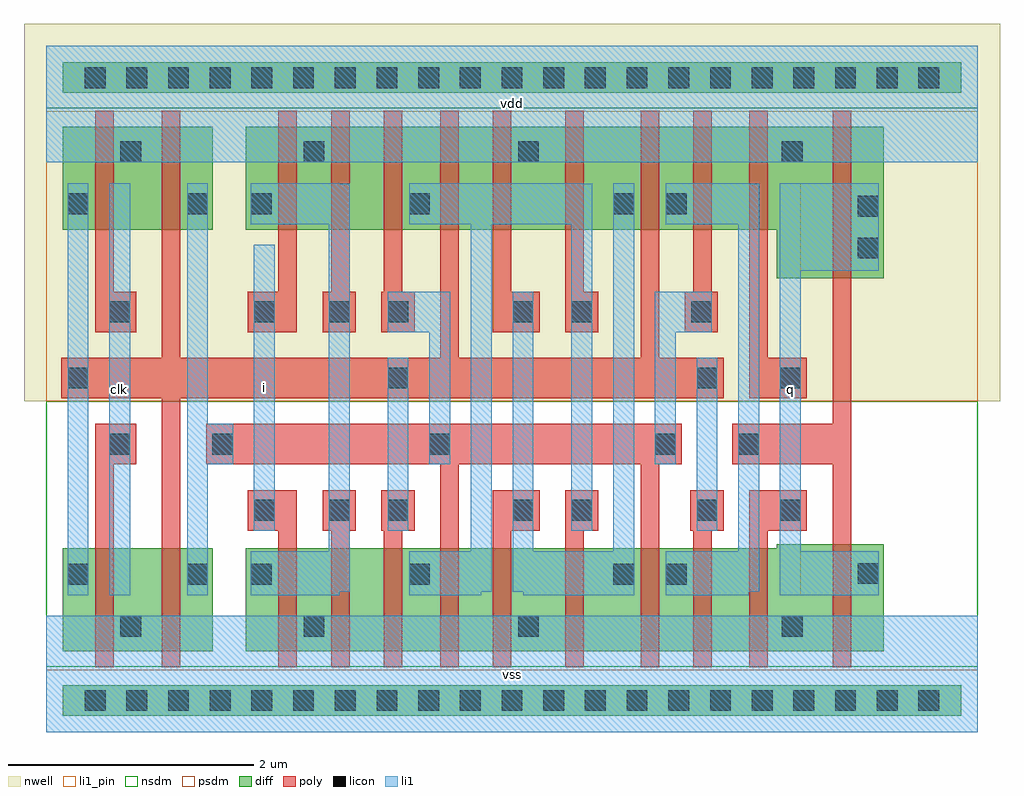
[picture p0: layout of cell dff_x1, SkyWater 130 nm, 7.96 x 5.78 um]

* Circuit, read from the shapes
.subckt dff_x1 clk i q vdd vss
XM1 vss clk n1 VSUBS sky130_fd_pr__nfet_01v8 w=0.84 l=0.15
XM2 n2 n1 vss VSUBS sky130_fd_pr__nfet_01v8 w=0.84 l=0.15
XM3 vss i n3 VSUBS sky130_fd_pr__nfet_01v8 w=0.84 l=0.15
XM4 n4 n3 vss VSUBS sky130_fd_pr__nfet_01v8 w=0.84 l=0.15
XM5 n5 n1 n4 VSUBS sky130_fd_pr__nfet_01v8 w=0.84 l=0.15
XM6 n6 n2 n5 VSUBS sky130_fd_pr__nfet_01v8 w=0.84 l=0.15
XM7 vss n7 n6 VSUBS sky130_fd_pr__nfet_01v8 w=0.84 l=0.15
XM8 n7 n5 vss VSUBS sky130_fd_pr__nfet_01v8 w=0.84 l=0.15
XM9 n8 n2 n7 VSUBS sky130_fd_pr__nfet_01v8 w=0.84 l=0.15
XM10 n9 n1 n8 VSUBS sky130_fd_pr__nfet_01v8 w=0.84 l=0.15
XM11 vss q n9 VSUBS sky130_fd_pr__nfet_01v8 w=0.84 l=0.15
XM12 q n8 vss VSUBS sky130_fd_pr__nfet_01v8 w=0.875 l=0.15
XM13 vdd clk n1 n10 sky130_fd_pr__pfet_01v8 w=0.84 l=0.15
XM14 n2 n1 vdd n10 sky130_fd_pr__pfet_01v8 w=0.84 l=0.15
XM15 vdd i n3 n10 sky130_fd_pr__pfet_01v8 w=0.84 l=0.15
XM16 n11 n3 vdd n10 sky130_fd_pr__pfet_01v8 w=0.84 l=0.15
XM17 n5 n2 n11 n10 sky130_fd_pr__pfet_01v8 w=0.84 l=0.15
XM18 n12 n1 n5 n10 sky130_fd_pr__pfet_01v8 w=0.84 l=0.15
XM19 vdd n7 n12 n10 sky130_fd_pr__pfet_01v8 w=0.84 l=0.15
XM20 n7 n5 vdd n10 sky130_fd_pr__pfet_01v8 w=0.84 l=0.15
XM21 n8 n1 n7 n10 sky130_fd_pr__pfet_01v8 w=0.84 l=0.15
XM22 n13 n2 n8 n10 sky130_fd_pr__pfet_01v8 w=0.84 l=0.15
XM23 vdd q n13 n10 sky130_fd_pr__pfet_01v8 w=0.84 l=0.15
XM24 q n8 vdd n10 sky130_fd_pr__pfet_01v8 w=1.235 l=0.15
.ends

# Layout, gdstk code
import gdstk
lib = gdstk.Library(unit=1e-6, precision=1e-09)
def R(c, l, rs):  # rectangles x0, y0, x1, y1
    for r in rs: c.add(gdstk.rectangle(r[:2], r[2:], *l))
def A(c, l, x, y, w, h, nx, ny, dx, dy):  # array of equal rectangles
    R(c, l, [(x+i*dx, y+j*dy, x+i*dx+w, y+j*dy+h) for i in range(nx) for j in range(ny)])
def P(c, l, *ps):  # polygons
    for p in ps: c.add(gdstk.Polygon(p, *l))
nwell = (64, 20)
diff = (65, 20)
poly = (66, 20)
licon = (66, 44)
li1_pin = (67, 16)
li1 = (67, 20)
nsdm = (93, 44)
psdm = (94, 20)

dff_x1 = lib.new_cell('dff_x1')
R(dff_x1, nwell, [(-0.18,2.7,7.78,5.78)])
R(dff_x1, diff, [(0.135,0.135,7.465,0.385), (0.135,0.66,1.36,1.5), (0.135,4.1,1.36,4.94), (0.135,5.215,7.465,5.465)])
P(dff_x1, diff, [(5.96,3.705),(5.96,4.1),(1.63,4.1),(1.63,4.94),(6.83,4.94),(6.83,3.705)],
  [(1.63,0.66),(1.63,1.5),(5.96,1.5),(5.96,1.535),(6.83,1.535),(6.83,0.66)])
P(dff_x1, poly, [(5.28,0.53),(5.28,1.645),(5.255,1.645),(5.255,1.975),(5.525,1.975),(5.525,1.645),(5.43,1.645),(5.43,0.53)],
  [(2.755,0.53),(2.755,1.645),(2.735,1.645),(2.735,1.975),(3.005,1.975),(3.005,1.645),(2.905,1.645),(2.905,0.53)],
  [(0.945,0.53),(0.945,2.725),(0.125,2.725),(0.125,3.055),(0.945,3.055),(0.945,5.07),(1.095,5.07),(1.095,3.055),(3.215,3.055),(3.215,5.07),(3.365,5.07),(3.365,3.055),(4.85,3.055),(4.85,5.07),(5,5.07),(5,3.055),(5.525,3.055),(5.525,2.725),(1.095,2.725),(1.095,0.53)],
  [(0.4,3.265),(0.4,5.07),(0.55,5.07),(0.55,3.595),(0.735,3.595),(0.735,3.265)],
  [(0.4,0.53),(0.4,2.515),(0.735,2.515),(0.735,2.185),(0.55,2.185),(0.55,0.53)],
  [(3.215,0.53),(3.215,2.185),(1.305,2.185),(1.305,2.515),(5.185,2.515),(5.185,2.185),(5,2.185),(5,0.53),(4.85,0.53),(4.85,2.185),(3.365,2.185),(3.365,0.53)],
  [(5.21,3.265),(5.21,3.595),(5.28,3.595),(5.28,5.07),(5.43,5.07),(5.43,3.595),(5.48,3.595),(5.48,3.265)],
  [(2.735,3.265),(2.735,3.595),(2.755,3.595),(2.755,5.07),(2.905,5.07),(2.905,3.595),(3.005,3.595),(3.005,3.265)],
  [(2.325,0.53),(2.325,1.645),(2.255,1.645),(2.255,1.975),(2.525,1.975),(2.525,1.645),(2.475,1.645),(2.475,0.53)],
  [(2.255,3.265),(2.255,3.595),(2.325,3.595),(2.325,5.07),(2.475,5.07),(2.475,3.595),(2.525,3.595),(2.525,3.265)],
  [(1.895,0.53),(1.895,1.645),(1.645,1.645),(1.645,1.975),(2.045,1.975),(2.045,0.53)],
  [(1.645,3.265),(1.645,3.595),(1.895,3.595),(1.895,5.07),(2.045,5.07),(2.045,3.265)],
  [(4.235,3.265),(4.235,5.07),(4.385,5.07),(4.385,3.595),(4.505,3.595),(4.505,3.265)],
  [(4.235,0.53),(4.235,1.975),(4.505,1.975),(4.505,1.645),(4.385,1.645),(4.385,0.53)],
  [(3.645,3.265),(3.645,5.07),(3.795,5.07),(3.795,3.595),(4.025,3.595),(4.025,3.265)],
  [(3.645,0.53),(3.645,1.975),(4.025,1.975),(4.025,1.645),(3.795,1.645),(3.795,0.53)],
  [(6.415,0.53),(6.415,2.185),(5.595,2.185),(5.595,2.515),(6.415,2.515),(6.415,5.07),(6.565,5.07),(6.565,0.53)],
  [(5.735,2.725),(5.735,5.07),(5.885,5.07),(5.885,3.055),(6.205,3.055),(6.205,2.725)],
  [(5.735,0.53),(5.735,1.975),(6.205,1.975),(6.205,1.645),(5.885,1.645),(5.885,0.53)])
A(dff_x1, licon, 0.315, 0.175, 0.17, 0.17, 21, 2, 0.34, 5.08)
R(dff_x1, licon, [(0.605,0.78,0.775,0.95), (2.1,0.78,2.27,0.95), (3.85,0.78,4.02,0.95), (6,0.78,6.17,0.95), (0.175,1.205,0.345,1.375), (1.15,1.205,1.32,1.375), (1.67,1.205,1.84,1.375), (2.96,1.205,3.13,1.375), (4.625,1.205,4.795,1.375), (5.055,1.205,5.225,1.375), (6.62,1.21,6.79,1.38), (1.695,1.725,1.865,1.895), (2.305,1.725,2.475,1.895), (2.785,1.725,2.955,1.895), (3.805,1.725,3.975,1.895), (4.285,1.725,4.455,1.895), (5.305,1.725,5.475,1.895), (5.985,1.725,6.155,1.895), (0.515,2.265,0.685,2.435), (1.355,2.265,1.525,2.435), (3.125,2.265,3.295,2.435), (4.965,2.265,5.135,2.435), (5.645,2.265,5.815,2.435), (0.175,2.805,0.345,2.975), (2.785,2.805,2.955,2.975), (5.305,2.805,5.475,2.975), (5.985,2.805,6.155,2.975), (0.515,3.345,0.685,3.515), (1.695,3.345,1.865,3.515), (2.305,3.345,2.475,3.515), (2.785,3.345,2.955,3.515), (3.805,3.345,3.975,3.515), (4.285,3.345,4.455,3.515), (5.26,3.345,5.43,3.515), (6.62,3.865,6.79,4.035), (6.62,4.205,6.79,4.375), (0.175,4.225,0.345,4.395), (1.15,4.225,1.32,4.395), (1.67,4.225,1.84,4.395), (2.96,4.225,3.13,4.395), (4.625,4.225,4.795,4.395), (5.055,4.225,5.225,4.395), (0.605,4.65,0.775,4.82), (2.1,4.65,2.27,4.82), (3.85,4.65,4.02,4.82), (6,4.65,6.17,4.82)])
R(dff_x1, li1_pin, [(0,0,7.6,0.95), (0.515,1.12,0.685,4.48), (5.985,1.12,6.155,4.48), (1.695,1.645,1.865,3.975), (0,4.65,7.6,5.6)])
R(dff_x1, li1, [(0,0,7.6,0.95), (0.175,1.12,0.345,4.48), (0.515,1.12,0.685,4.48), (1.695,1.645,1.865,3.975), (2.785,1.645,2.955,3.055), (5.305,1.645,5.475,3.055), (0,4.65,7.6,5.6)])
P(dff_x1, li1, [(1.15,1.12),(1.15,4.48),(1.32,4.48),(1.32,2.515),(1.525,2.515),(1.525,2.185),(1.32,2.185),(1.32,1.12)],
  [(4.965,2.185),(4.965,3.595),(5.43,3.595),(5.43,3.265),(5.135,3.265),(5.135,2.185)],
  [(3.125,2.185),(3.125,3.265),(2.785,3.265),(2.785,3.595),(3.295,3.595),(3.295,2.185)],
  [(1.67,1.12),(1.67,1.475),(2.305,1.475),(2.305,4.145),(1.67,4.145),(1.67,4.48),(2.39,4.48),(2.39,4.475),(2.475,4.475),(2.475,1.145),(2.39,1.145),(2.39,1.12)],
  [(2.96,1.12),(2.96,1.475),(3.465,1.475),(3.465,4.145),(2.96,4.145),(2.96,4.48),(4.37,4.48),(4.37,4.475),(4.455,4.475),(4.455,1.645),(4.285,1.645),(4.285,4.145),(3.635,4.145),(3.635,1.145),(3.55,1.145),(3.55,1.12)],
  [(3.89,1.12),(3.89,1.145),(3.805,1.145),(3.805,3.595),(3.975,3.595),(3.975,1.475),(4.625,1.475),(4.625,4.48),(4.795,4.48),(4.795,1.12)],
  [(5.055,1.12),(5.055,1.475),(5.645,1.475),(5.645,4.145),(5.055,4.145),(5.055,4.48),(5.73,4.48),(5.73,4.475),(5.815,4.475),(5.815,1.145),(5.73,1.145),(5.73,1.12)],
  [(5.985,1.12),(5.985,4.48),(6.79,4.48),(6.79,3.765),(6.155,3.765),(6.155,1.475),(6.79,1.475),(6.79,1.12)])
R(dff_x1, nsdm, [(0,0.535,7.6,2.7), (0,5.09,7.6,5.6)])
R(dff_x1, psdm, [(0,0,7.6,0.51), (0,2.7,7.6,5.065)])
dff_x1.add(gdstk.Label('vdd', (3.8,5.125), layer=67, texttype=16))
dff_x1.add(gdstk.Label('vss', (3.8,0.475), layer=67, texttype=16))
dff_x1.add(gdstk.Label('clk', (0.6,2.8), layer=67, texttype=16))
dff_x1.add(gdstk.Label('i', (1.78,2.81), layer=67, texttype=16))
dff_x1.add(gdstk.Label('q', (6.07,2.8), layer=67, texttype=16))

lib.write_gds('dff_x1.gds')
